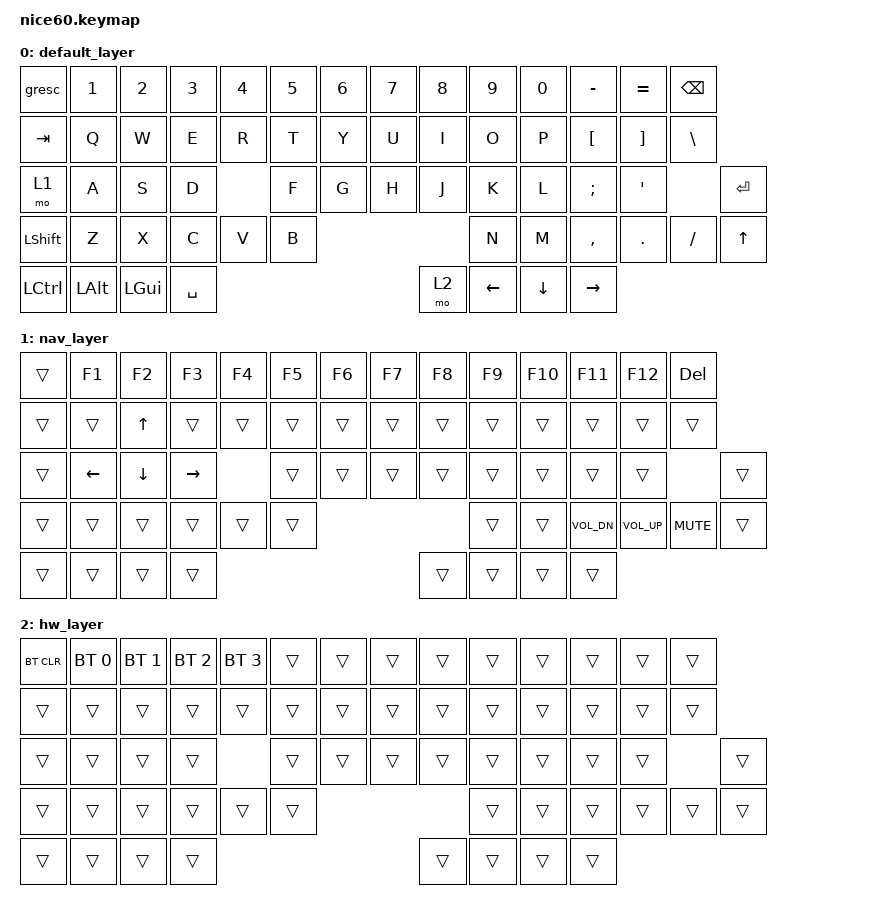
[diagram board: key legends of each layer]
/*
 * Copyright (c) 2021 Nick Winans
 *
 * SPDX-License-Identifier: MIT
 */

#include <behaviors.dtsi>
#include <dt-bindings/zmk/keys.h>
#include <dt-bindings/zmk/rgb.h>
#include <dt-bindings/zmk/bt.h>
#include <dt-bindings/zmk/outputs.h>
#include <dt-bindings/zmk/reset.h>
#include <dt-bindings/zmk/ext_power.h>

/ {
	keymap {
		compatible = "zmk,keymap";
		
		default_layer {
			bindings = <
	&gresc  &kp N1 &kp N2 &kp N3 &kp N4 &kp N5 &kp N6 &kp N7 &kp N8 &kp N9 &kp N0 &kp MINUS &kp EQUAL  &kp BSPC
	&kp TAB  &kp Q  &kp W  &kp E  &kp R  &kp T  &kp Y  &kp U  &kp I  &kp O  &kp P  &kp LBKT  &kp RBKT  &kp BSLH
	&mo 1 &kp A  &kp S  &kp D  &kp F  &kp G  &kp H  &kp J  &kp K  &kp L  &kp SEMI &kp SQT           &kp RET
	&kp LSHFT   &kp Z  &kp X  &kp C  &kp V  &kp B  &kp N  &kp M  &kp COMMA &kp DOT &kp FSLH           &kp UP
	&kp LCTRL &kp LALT &kp LGUI             &kp SPACE                     &mo 2  &kp LEFT  &kp DOWN   &kp RIGHT
			>;
		};

		nav_layer {
			bindings = <
	&trans  &kp F1  &kp F2  &kp F3  &kp F4  &kp F5 	&kp F6  &kp F7 	&kp F8  &kp F9  &kp F10  &kp F11 &kp F12  &kp DEL
	&trans  &trans  &kp UP  &trans  &trans  &trans  &trans  &trans  &trans  &trans  &trans  &trans  &trans  &trans
	&trans  &kp LEFT  &kp DOWN  &kp RIGHT  &trans  &trans  &trans  &trans  &trans  &trans  &trans 	&trans          &trans
	&trans  &trans  &trans  &trans  &trans  &trans  &trans  &trans  &kp K_VOL_DN 	&kp K_VOL_UP 	&kp K_MUTE           &trans
	&trans &trans &trans             &trans                     &trans  &trans  &trans   &trans
			>;
		};

		hw_layer {
			bindings = <
	&bt BT_CLR   &bt BT_SEL 0    &bt BT_SEL 1    &bt BT_SEL 2  &bt BT_SEL 3	&trans &trans  &trans  &trans   &trans   &trans  &trans &trans  &trans
	&trans  &trans    &trans    &trans  &trans  &trans &trans &trans  &trans   &trans   &trans   &trans  &trans          &trans 
	&trans   &trans  &trans  &trans &trans &trans &trans &trans &trans   &trans   &trans   &trans  &trans
	&trans    &trans    &trans    &trans   &trans          &trans          &trans          &trans 	&trans   &trans   &trans  &trans
	&trans  &trans   &trans                            &trans                                      &trans      &trans      &trans    &trans
			>;
		};
	};
};
